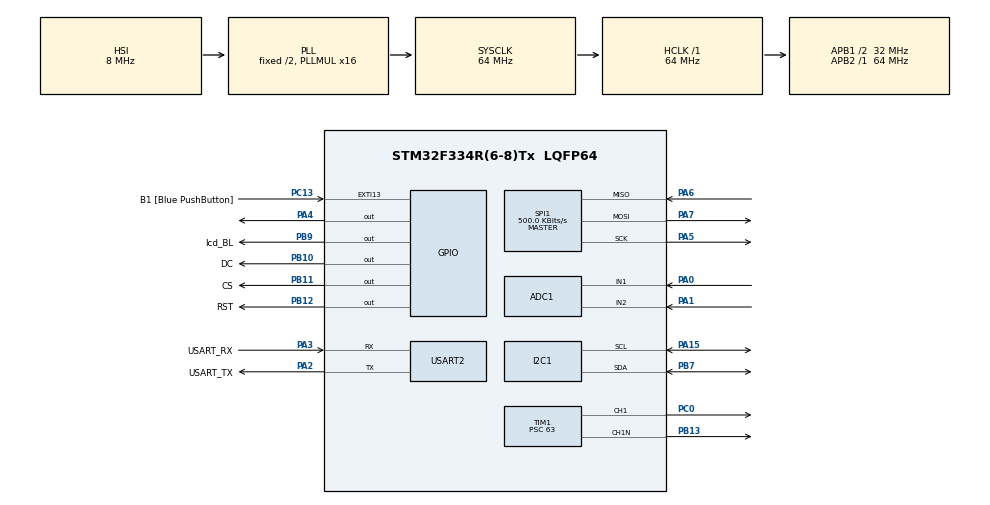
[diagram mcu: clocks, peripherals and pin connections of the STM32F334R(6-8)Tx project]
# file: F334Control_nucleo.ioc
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ADC1.Channel-0\#ChannelRegularConversion=ADC_CHANNEL_1
ADC1.Channel-1\#ChannelRegularConversion=ADC_CHANNEL_2
ADC1.ContinuousConvMode=ENABLE
ADC1.NbrOfConversion=2
ADC1.NbrOfConversionFlag=1
ADC1.Offset-0\#ChannelRegularConversion=0
ADC1.Offset-1\#ChannelRegularConversion=0
ADC1.OffsetNumber-0\#ChannelRegularConversion=ADC_OFFSET_NONE
ADC1.OffsetNumber-1\#ChannelRegularConversion=ADC_OFFSET_NONE
ADC1.Rank-0\#ChannelRegularConversion=1
ADC1.Rank-1\#ChannelRegularConversion=2
ADC1.SamplingTime-0\#ChannelRegularConversion=ADC_SAMPLETIME_1CYCLE_5
ADC1.SamplingTime-1\#ChannelRegularConversion=ADC_SAMPLETIME_1CYCLE_5
ADC1.SamplingTimeOPAMP-1\#ChannelRegularConversion=ADC_SAMPLETIME_61CYCLES_5
ADC1.master=1
Dma.ADC1.0.Direction=DMA_PERIPH_TO_MEMORY
Dma.ADC1.0.Instance=DMA1_Channel1
Dma.ADC1.0.MemDataAlignment=DMA_MDATAALIGN_WORD
Dma.ADC1.0.MemInc=DMA_MINC_ENABLE
Dma.ADC1.0.Mode=DMA_CIRCULAR
Dma.ADC1.0.PeriphDataAlignment=DMA_PDATAALIGN_WORD
Dma.ADC1.0.PeriphInc=DMA_PINC_DISABLE
Dma.ADC1.0.Priority=DMA_PRIORITY_LOW
Dma.Request0=ADC1
Mcu.Family=STM32F3
Mcu.Name=STM32F334R(6-8)Tx
Mcu.Package=LQFP64
NVIC.DMA1_Channel1_IRQn=true\:0\:0\:false\:false\:true\:false\:true\:true
NVIC.PriorityGroup=NVIC_PRIORITYGROUP_0
NVIC.TIM2_IRQn=true\:0\:0\:false\:false\:true\:true\:true\:true
PA0.Mode=IN1-Single-Ended
PA0.Signal=ADC1_IN1
PA1.Mode=IN2-Single-Ended
PA1.Signal=ADC1_IN2
PA13.GPIO_Label=TMS
PA13.Mode=Serial_Wire
PA13.Signal=SYS_JTMS-SWDIO
PA14.GPIO_Label=TCK
PA14.Mode=Serial_Wire
PA14.Signal=SYS_JTCK-SWCLK
PA15.Mode=I2C
PA15.Signal=I2C1_SCL
PA2.GPIO_Label=USART_TX
PA2.Mode=Asynchronous
PA2.Signal=USART2_TX
PA3.GPIO_Label=USART_RX
PA3.Mode=Asynchronous
PA3.Signal=USART2_RX
PA4.Signal=GPIO_Output
PA5.Mode=Full_Duplex_Master
PA5.Signal=SPI1_SCK
PA6.Mode=Full_Duplex_Master
PA6.Signal=SPI1_MISO
PA7.Mode=Full_Duplex_Master
PA7.Signal=SPI1_MOSI
PB10.GPIO_Label=DC
PB10.Signal=GPIO_Output
PB11.GPIO_Label=CS
PB11.Signal=GPIO_Output
PB12.GPIO_Label=RST
PB12.Signal=GPIO_Output
PB13.Mode=PWM Generation1 CH1 CH1N
PB13.Signal=TIM1_CH1N
PB3.GPIO_Label=SWO
PB3.Signal=SYS_JTDO-TRACESWO
PB7.Mode=I2C
PB7.Signal=I2C1_SDA
PB9.GPIO_Label=lcd_BL
PB9.Signal=GPIO_Output
PC0.Signal=S_TIM1_CH1
PC13.GPIO_Label=B1 [Blue PushButton]
PC13.GPIO_ModeDefaultEXTI=GPIO_MODE_IT_FALLING
PC13.Signal=GPXTI13
PC14\ /\ OSC32_IN.Mode=LSE-External-Oscillator
PC14\ /\ OSC32_IN.Signal=RCC_OSC32_IN
PC15\ /\ OSC32_OUT.GPIO_Label=RCC_OSC32_OUT
PC15\ /\ OSC32_OUT.Mode=LSE-External-Oscillator
PC15\ /\ OSC32_OUT.Signal=RCC_OSC32_OUT
PF0\ /\ OSC_IN.Mode=HSE-External-Clock-Source
PF0\ /\ OSC_IN.Signal=RCC_OSC_IN
PF1\ /\ OSC_OUT.Signal=RCC_OSC_OUT
ProjectManager.HeapSize=0x200
ProjectManager.StackSize=0x400
ProjectManager.TargetToolchain=STM32CubeIDE
RCC.AHBFreq_Value=64000000
RCC.APB1CLKDivider=RCC_HCLK_DIV2
RCC.APB1Freq_Value=32000000
RCC.APB1TimFreq_Value=64000000
RCC.APB2Freq_Value=64000000
RCC.APB2TimFreq_Value=64000000
RCC.CortexFreq_Value=64000000
RCC.FLatency-AdvancedSettings=FLASH_LATENCY_2
RCC.HCLKFreq_Value=64000000
RCC.HSE_VALUE=8000000
RCC.HSI_VALUE=8000000
RCC.PLLMUL=RCC_PLL_MUL16
RCC.SYSCLKFreq_VALUE=64000000
RCC.SYSCLKSourceVirtual=RCC_SYSCLKSOURCE_PLLCLK
SH.S_TIM1_CH1.0=TIM1_CH1,PWM Generation1 CH1 CH1N
SPI1.BaudRatePrescaler=SPI_BAUDRATEPRESCALER_128
SPI1.CalculateBaudRate=500.0 KBits/s
SPI1.DataSize=SPI_DATASIZE_8BIT
SPI1.Direction=SPI_DIRECTION_2LINES
SPI1.Mode=SPI_MODE_MASTER
SPI1.VirtualType=VM_MASTER
TIM1.AutoReloadPreload=TIM_AUTORELOAD_PRELOAD_ENABLE
TIM1.Channel-PWM\ Generation1\ CH1\ CH1N=TIM_CHANNEL_1
TIM1.Period=1000
TIM1.Prescaler=63
TIM1.Pulse-PWM\ Generation1\ CH1\ CH1N=500
TIM2.Period=100-1
TIM2.Prescaler=64-1
USART2.VirtualMode-Asynchronous=VM_ASYNC
VP_TIM2_VS_ClockSourceINT.Mode=Internal
board=NUCLEO-F334R8

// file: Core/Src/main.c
/* USER CODE BEGIN Header */
/**
  ******************************************************************************
  * @file           : main.c
  * @brief          : Main program body
  ******************************************************************************
  * @attention
  *
  * Copyright (c) 2022 STMicroelectronics.
  * All rights reserved.
  *
  * This software is licensed under terms that can be found in the LICENSE file
  * in the root directory of this software component.
  * If no LICENSE file comes with this software, it is provided AS-IS.
  *
  ******************************************************************************
  */
/* USER CODE END Header */
#include "main.h"

/* USER CODE BEGIN Includes */
#include <stdio.h>
#include "sys.h"
#include "spi.h"
#include "i2c.h"
#include "lcd7735.h"
#include "gui.h"
#include "ssd1309.h"

/* USER CODE END Includes */

/* USER CODE BEGIN PD */
#define USER_MAIN_DEBUG

// 打印log define USER_MAIN_DEBUG 后生�??????
#ifdef USER_MAIN_DEBUG
#define user_main_printf(format, ...) printf( format "\r\n", ##__VA_ARGS__)
#define user_main_info(format, ...) printf("[\tmain]info:" format "\r\n", ##__VA_ARGS__)
#define user_main_debug(format, ...) printf("[\tmain]debug:" format "\r\n", ##__VA_ARGS__)
#define user_main_error(format, ...) printf("[\tmain]error:" format "\r\n",##__VA_ARGS__)
#else
#define user_main_printf(format, ...)
#define user_main_info(format, ...)
#define user_main_debug(format, ...)
#define user_main_error(format, ...)
#endif

/* USER CODE END PD */

ADC_HandleTypeDef hadc1;
DMA_HandleTypeDef hdma_adc1;

I2C_HandleTypeDef hi2c1;

SPI_HandleTypeDef hspi1;

TIM_HandleTypeDef htim1;
TIM_HandleTypeDef htim2;

UART_HandleTypeDef huart2;

void SystemClock_Config(void);
static void MX_GPIO_Init(void);
static void MX_DMA_Init(void);
static void MX_USART2_UART_Init(void);
static void MX_I2C1_Init(void);
static void MX_SPI1_Init(void);
static void MX_TIM1_Init(void);
static void MX_TIM2_Init(void);
static void MX_ADC1_Init(void);

/* USER CODE BEGIN 0 */

uint16_t sin[] = {
		400,418,437,456,474,492,510,527,544,560,576,591,605,618,631,642,
		653,662,671,678,685,690,694,697,699,700,699,697,694,690,685,678,
		671,662,653,642,631,618,605,591,576,560,544,527,510,492,474,456,
		437,418,400,381,362,343,325,307,289,272,255,239,223,208,194,181,
		168,157,146,137,128,121,114,109,105,102,100,100,100,102,105,109,
		114,121,128,137,146,157,168,181,194,208,223,239,255,272,289,307,
		325,343,362,381
};
int size = 100;
uint32_t ADC_Value[100];
uint8_t i;
uint32_t ad1,ad2;

/* USER CODE END 0 */

int main(void)
{

  /* MCU Configuration--------------------------------------------------------*/

  /* Reset of all peripherals, Initializes the Flash interface and the Systick. */
  HAL_Init();

  /* Configure the system clock */
  SystemClock_Config();

  /* Initialize all configured peripherals */
  MX_GPIO_Init();
  MX_DMA_Init();
  MX_USART2_UART_Init();
  MX_I2C1_Init();
  MX_SPI1_Init();
  MX_TIM1_Init();
  MX_TIM2_Init();
  MX_ADC1_Init();
  /* USER CODE BEGIN 2 */

  LCD_Init();

  English_Font_test();

  HAL_TIM_PWM_Start(&htim1,TIM_CHANNEL_1);
  HAL_TIM_Base_Start_IT(&htim2);

  HAL_ADC_Start_DMA(&hadc1, (uint32_t*)&ADC_Value, 100);

  /* USER CODE END 2 */

  /* Infinite loop */
  /* USER CODE BEGIN WHILE */
  while (1)
  {

//	  HAL_ADC_Start(&hadc1);//启动ADC装换
//	  HAL_ADC_PollForConversion(&hadc1, 50);//等待转换完成，第二个参数表示超时时间 单位ms.
//	  if(HAL_IS_BIT_SET(HAL_ADC_GetState(&hadc1), HAL_ADC_STATE_REG_EOC)){
//		  AD_Value = HAL_ADC_GetValue(&hadc1);//读取ADC转换数据，数据为12�??
//		  user_main_info(AD_Value*3300.0/4096);//打印日志
//	  }

	  HAL_Delay(500);
	  for(i = 0,ad1 =0,ad2=0; i < 100;){
		  ad1 += ADC_Value[i++];
		  ad2 += ADC_Value[i++];
	  }
	  ad1 /= 50;
	  ad2 /= 50;
//	  printf("\r\n********ADC-DMA-Example********\r\n");
//	  printf("[\tmain]info:AD1_value=%1.3fV\r\n", ad1*3.3f/4096);
//	  printf("[\tmain]info:AD2_value=%1.3fV\r\n", ad2*3.3f/4096);

	//  ssd1309_TestAll();
    /* USER CODE END WHILE */

  }
}

void SystemClock_Config(void)
{
  RCC_OscInitTypeDef RCC_OscInitStruct = {0};
  RCC_ClkInitTypeDef RCC_ClkInitStruct = {0};
  RCC_PeriphCLKInitTypeDef PeriphClkInit = {0};

  /** Initializes the RCC Oscillators according to the specified parameters
  * in the RCC_OscInitTypeDef structure.
  */
  RCC_OscInitStruct.OscillatorType = RCC_OSCILLATORTYPE_HSI;
  RCC_OscInitStruct.HSIState = RCC_HSI_ON;
  RCC_OscInitStruct.HSICalibrationValue = RCC_HSICALIBRATION_DEFAULT;
  RCC_OscInitStruct.PLL.PLLState = RCC_PLL_ON;
  RCC_OscInitStruct.PLL.PLLSource = RCC_PLLSOURCE_HSI;
  RCC_OscInitStruct.PLL.PLLMUL = RCC_PLL_MUL16;
  if (HAL_RCC_OscConfig(&RCC_OscInitStruct) != HAL_OK)
  {
    Error_Handler();
  }

  /** Initializes the CPU, AHB and APB buses clocks
  */
  RCC_ClkInitStruct.ClockType = RCC_CLOCKTYPE_HCLK|RCC_CLOCKTYPE_SYSCLK
                              |RCC_CLOCKTYPE_PCLK1|RCC_CLOCKTYPE_PCLK2;
  RCC_ClkInitStruct.SYSCLKSource = RCC_SYSCLKSOURCE_PLLCLK;
  RCC_ClkInitStruct.AHBCLKDivider = RCC_SYSCLK_DIV1;
  RCC_ClkInitStruct.APB1CLKDivider = RCC_HCLK_DIV2;
  RCC_ClkInitStruct.APB2CLKDivider = RCC_HCLK_DIV1;

  if (HAL_RCC_ClockConfig(&RCC_ClkInitStruct, FLASH_LATENCY_2) != HAL_OK)
  {
    Error_Handler();
  }
  PeriphClkInit.PeriphClockSelection = RCC_PERIPHCLK_I2C1|RCC_PERIPHCLK_TIM1
                              |RCC_PERIPHCLK_ADC12;
  PeriphClkInit.Adc12ClockSelection = RCC_ADC12PLLCLK_DIV1;
  PeriphClkInit.I2c1ClockSelection = RCC_I2C1CLKSOURCE_HSI;
  PeriphClkInit.Tim1ClockSelection = RCC_TIM1CLK_HCLK;
  if (HAL_RCCEx_PeriphCLKConfig(&PeriphClkInit) != HAL_OK)
  {
    Error_Handler();
  }
}

static void MX_ADC1_Init(void)
{

  ADC_MultiModeTypeDef multimode = {0};
  ADC_ChannelConfTypeDef sConfig = {0};

  /** Common config
  */
  hadc1.Instance = ADC1;
  hadc1.Init.ClockPrescaler = ADC_CLOCK_ASYNC_DIV1;
  hadc1.Init.Resolution = ADC_RESOLUTION_12B;
  hadc1.Init.ScanConvMode = ADC_SCAN_ENABLE;
  hadc1.Init.ContinuousConvMode = ENABLE;
  hadc1.Init.DiscontinuousConvMode = DISABLE;
  hadc1.Init.ExternalTrigConvEdge = ADC_EXTERNALTRIGCONVEDGE_NONE;
  hadc1.Init.ExternalTrigConv = ADC_SOFTWARE_START;
  hadc1.Init.DataAlign = ADC_DATAALIGN_RIGHT;
  hadc1.Init.NbrOfConversion = 2;
  hadc1.Init.DMAContinuousRequests = DISABLE;
  hadc1.Init.EOCSelection = ADC_EOC_SINGLE_CONV;
  hadc1.Init.LowPowerAutoWait = DISABLE;
  hadc1.Init.Overrun = ADC_OVR_DATA_OVERWRITTEN;
  if (HAL_ADC_Init(&hadc1) != HAL_OK)
  {
    Error_Handler();
  }

  /** Configure the ADC multi-mode
  */
  multimode.Mode = ADC_MODE_INDEPENDENT;
  if (HAL_ADCEx_MultiModeConfigChannel(&hadc1, &multimode) != HAL_OK)
  {
    Error_Handler();
  }

  /** Configure Regular Channel
  */
  sConfig.Channel = ADC_CHANNEL_1;
  sConfig.Rank = ADC_REGULAR_RANK_1;
  sConfig.SingleDiff = ADC_SINGLE_ENDED;
  sConfig.SamplingTime = ADC_SAMPLETIME_1CYCLE_5;
  sConfig.OffsetNumber = ADC_OFFSET_NONE;
  sConfig.Offset = 0;
  if (HAL_ADC_ConfigChannel(&hadc1, &sConfig) != HAL_OK)
  {
    Error_Handler();
  }

  /** Configure Regular Channel
  */
  sConfig.Channel = ADC_CHANNEL_2;
  sConfig.Rank = ADC_REGULAR_RANK_2;
  if (HAL_ADC_ConfigChannel(&hadc1, &sConfig) != HAL_OK)
  {
    Error_Handler();
  }

}

static void MX_I2C1_Init(void)
{

  hi2c1.Instance = I2C1;
  hi2c1.Init.Timing = 0x2000090E;
  hi2c1.Init.OwnAddress1 = 0;
  hi2c1.Init.AddressingMode = I2C_ADDRESSINGMODE_7BIT;
  hi2c1.Init.DualAddressMode = I2C_DUALADDRESS_DISABLE;
  hi2c1.Init.OwnAddress2 = 0;
  hi2c1.Init.OwnAddress2Masks = I2C_OA2_NOMASK;
  hi2c1.Init.GeneralCallMode = I2C_GENERALCALL_DISABLE;
  hi2c1.Init.NoStretchMode = I2C_NOSTRETCH_DISABLE;
  if (HAL_I2C_Init(&hi2c1) != HAL_OK)
  {
    Error_Handler();
  }

  /** Configure Analogue filter
  */
  if (HAL_I2CEx_ConfigAnalogFilter(&hi2c1, I2C_ANALOGFILTER_ENABLE) != HAL_OK)
  {
    Error_Handler();
  }

  /** Configure Digital filter
  */
  if (HAL_I2CEx_ConfigDigitalFilter(&hi2c1, 0) != HAL_OK)
  {
    Error_Handler();
  }

}

static void MX_SPI1_Init(void)
{

  /* SPI1 parameter configuration*/
  hspi1.Instance = SPI1;
  hspi1.Init.Mode = SPI_MODE_MASTER;
  hspi1.Init.Direction = SPI_DIRECTION_2LINES;
  hspi1.Init.DataSize = SPI_DATASIZE_8BIT;
  hspi1.Init.CLKPolarity = SPI_POLARITY_LOW;
  hspi1.Init.CLKPhase = SPI_PHASE_1EDGE;
  hspi1.Init.NSS = SPI_NSS_SOFT;
  hspi1.Init.BaudRatePrescaler = SPI_BAUDRATEPRESCALER_128;
  hspi1.Init.FirstBit = SPI_FIRSTBIT_MSB;
  hspi1.Init.TIMode = SPI_TIMODE_DISABLE;
  hspi1.Init.CRCCalculation = SPI_CRCCALCULATION_DISABLE;
  hspi1.Init.CRCPolynomial = 7;
  hspi1.Init.CRCLength = SPI_CRC_LENGTH_DATASIZE;
  hspi1.Init.NSSPMode = SPI_NSS_PULSE_ENABLE;
  if (HAL_SPI_Init(&hspi1) != HAL_OK)
  {
    Error_Handler();
  }

}

static void MX_TIM1_Init(void)
{

  TIM_MasterConfigTypeDef sMasterConfig = {0};
  TIM_OC_InitTypeDef sConfigOC = {0};
  TIM_BreakDeadTimeConfigTypeDef sBreakDeadTimeConfig = {0};

  htim1.Instance = TIM1;
  htim1.Init.Prescaler = 63;
  htim1.Init.CounterMode = TIM_COUNTERMODE_UP;
  htim1.Init.Period = 1000;
  htim1.Init.ClockDivision = TIM_CLOCKDIVISION_DIV1;
  htim1.Init.RepetitionCounter = 0;
  htim1.Init.AutoReloadPreload = TIM_AUTORELOAD_PRELOAD_ENABLE;
  if (HAL_TIM_PWM_Init(&htim1) != HAL_OK)
  {
    Error_Handler();
  }
  sMasterConfig.MasterOutputTrigger = TIM_TRGO_RESET;
  sMasterConfig.MasterOutputTrigger2 = TIM_TRGO2_RESET;
  sMasterConfig.MasterSlaveMode = TIM_MASTERSLAVEMODE_DISABLE;
  if (HAL_TIMEx_MasterConfigSynchronization(&htim1, &sMasterConfig) != HAL_OK)
  {
    Error_Handler();
  }
  sConfigOC.OCMode = TIM_OCMODE_PWM1;
  sConfigOC.Pulse = 500;
  sConfigOC.OCPolarity = TIM_OCPOLARITY_HIGH;
  sConfigOC.OCNPolarity = TIM_OCNPOLARITY_HIGH;
  sConfigOC.OCFastMode = TIM_OCFAST_DISABLE;
  sConfigOC.OCIdleState = TIM_OCIDLESTATE_RESET;
  sConfigOC.OCNIdleState = TIM_OCNIDLESTATE_RESET;
  if (HAL_TIM_PWM_ConfigChannel(&htim1, &sConfigOC, TIM_CHANNEL_1) != HAL_OK)
  {
    Error_Handler();
  }
  sBreakDeadTimeConfig.OffStateRunMode = TIM_OSSR_DISABLE;
  sBreakDeadTimeConfig.OffStateIDLEMode = TIM_OSSI_DISABLE;
  sBreakDeadTimeConfig.LockLevel = TIM_LOCKLEVEL_OFF;
  sBreakDeadTimeConfig.DeadTime = 0;
  sBreakDeadTimeConfig.BreakState = TIM_BREAK_DISABLE;
  sBreakDeadTimeConfig.BreakPolarity = TIM_BREAKPOLARITY_HIGH;
  sBreakDeadTimeConfig.BreakFilter = 0;
  sBreakDeadTimeConfig.Break2State = TIM_BREAK2_DISABLE;
  sBreakDeadTimeConfig.Break2Polarity = TIM_BREAK2POLARITY_HIGH;
  sBreakDeadTimeConfig.Break2Filter = 0;
  sBreakDeadTimeConfig.AutomaticOutput = TIM_AUTOMATICOUTPUT_DISABLE;
  if (HAL_TIMEx_ConfigBreakDeadTime(&htim1, &sBreakDeadTimeConfig) != HAL_OK)
  {
    Error_Handler();
  }
  HAL_TIM_MspPostInit(&htim1);

}

static void MX_TIM2_Init(void)
{

  TIM_ClockConfigTypeDef sClockSourceConfig = {0};
  TIM_MasterConfigTypeDef sMasterConfig = {0};

  htim2.Instance = TIM2;
  htim2.Init.Prescaler = 64-1;
  htim2.Init.CounterMode = TIM_COUNTERMODE_UP;
  htim2.Init.Period = 100-1;
  htim2.Init.ClockDivision = TIM_CLOCKDIVISION_DIV1;
  htim2.Init.AutoReloadPreload = TIM_AUTORELOAD_PRELOAD_DISABLE;
  if (HAL_TIM_Base_Init(&htim2) != HAL_OK)
  {
    Error_Handler();
  }
  sClockSourceConfig.ClockSource = TIM_CLOCKSOURCE_INTERNAL;
  if (HAL_TIM_ConfigClockSource(&htim2, &sClockSourceConfig) != HAL_OK)
  {
    Error_Handler();
  }
  sMasterConfig.MasterOutputTrigger = TIM_TRGO_RESET;
  sMasterConfig.MasterSlaveMode = TIM_MASTERSLAVEMODE_DISABLE;
  if (HAL_TIMEx_MasterConfigSynchronization(&htim2, &sMasterConfig) != HAL_OK)
  {
    Error_Handler();
  }

}

static void MX_USART2_UART_Init(void)
{

  huart2.Instance = USART2;
  huart2.Init.BaudRate = 38400;
  huart2.Init.WordLength = UART_WORDLENGTH_8B;
  huart2.Init.StopBits = UART_STOPBITS_1;
  huart2.Init.Parity = UART_PARITY_NONE;
  huart2.Init.Mode = UART_MODE_TX_RX;
  huart2.Init.HwFlowCtl = UART_HWCONTROL_NONE;
  huart2.Init.OverSampling = UART_OVERSAMPLING_16;
  huart2.Init.OneBitSampling = UART_ONE_BIT_SAMPLE_DISABLE;
  huart2.AdvancedInit.AdvFeatureInit = UART_ADVFEATURE_NO_INIT;
  if (HAL_UART_Init(&huart2) != HAL_OK)
  {
    Error_Handler();
  }

}

static void MX_DMA_Init(void)
{

  /* DMA controller clock enable */
  __HAL_RCC_DMA1_CLK_ENABLE();

  /* DMA interrupt init */
  /* DMA1_Channel1_IRQn interrupt configuration */
  HAL_NVIC_SetPriority(DMA1_Channel1_IRQn, 0, 0);
  HAL_NVIC_EnableIRQ(DMA1_Channel1_IRQn);

}

static void MX_GPIO_Init(void)
{
  GPIO_InitTypeDef GPIO_InitStruct = {0};

  /* GPIO Ports Clock Enable */
  __HAL_RCC_GPIOC_CLK_ENABLE();
  __HAL_RCC_GPIOF_CLK_ENABLE();
  __HAL_RCC_GPIOA_CLK_ENABLE();
  __HAL_RCC_GPIOB_CLK_ENABLE();

  /*Configure GPIO pin Output Level */
  HAL_GPIO_WritePin(GPIOA, GPIO_PIN_4, GPIO_PIN_RESET);

  /*Configure GPIO pin Output Level */
  HAL_GPIO_WritePin(GPIOB, DC_Pin|CS_Pin|RST_Pin|lcd_BL_Pin, GPIO_PIN_RESET);

  /*Configure GPIO pin : B1_Pin */
  GPIO_InitStruct.Pin = B1_Pin;
  GPIO_InitStruct.Mode = GPIO_MODE_IT_FALLING;
  GPIO_InitStruct.Pull = GPIO_NOPULL;
  HAL_GPIO_Init(B1_GPIO_Port, &GPIO_InitStruct);

  /*Configure GPIO pin : PA4 */
  GPIO_InitStruct.Pin = GPIO_PIN_4;
  GPIO_InitStruct.Mode = GPIO_MODE_OUTPUT_PP;
  GPIO_InitStruct.Pull = GPIO_NOPULL;
  GPIO_InitStruct.Speed = GPIO_SPEED_FREQ_LOW;
  HAL_GPIO_Init(GPIOA, &GPIO_InitStruct);

  /*Configure GPIO pins : DC_Pin CS_Pin RST_Pin lcd_BL_Pin */
  GPIO_InitStruct.Pin = DC_Pin|CS_Pin|RST_Pin|lcd_BL_Pin;
  GPIO_InitStruct.Mode = GPIO_MODE_OUTPUT_PP;
  GPIO_InitStruct.Pull = GPIO_NOPULL;
  GPIO_InitStruct.Speed = GPIO_SPEED_FREQ_LOW;
  HAL_GPIO_Init(GPIOB, &GPIO_InitStruct);

}

/* USER CODE BEGIN 4 */

/**
* @brief 定时器中断的回调函数
* @param htim 触发中断的定时器
* @retval None
*/
void HAL_TIM_PeriodElapsedCallback(TIM_HandleTypeDef *htim){
	static int i = 0;
	if(++i == size)i = 0;
	if (htim->Instance == htim2.Instance){
		__HAL_TIM_SET_COMPARE(&htim1, TIM_CHANNEL_1, sin[i]); //由向量表修改占空
	}
}

/* USER CODE END 4 */

void Error_Handler(void)
{
  __disable_irq();
  while (1)
  {
  }
}
